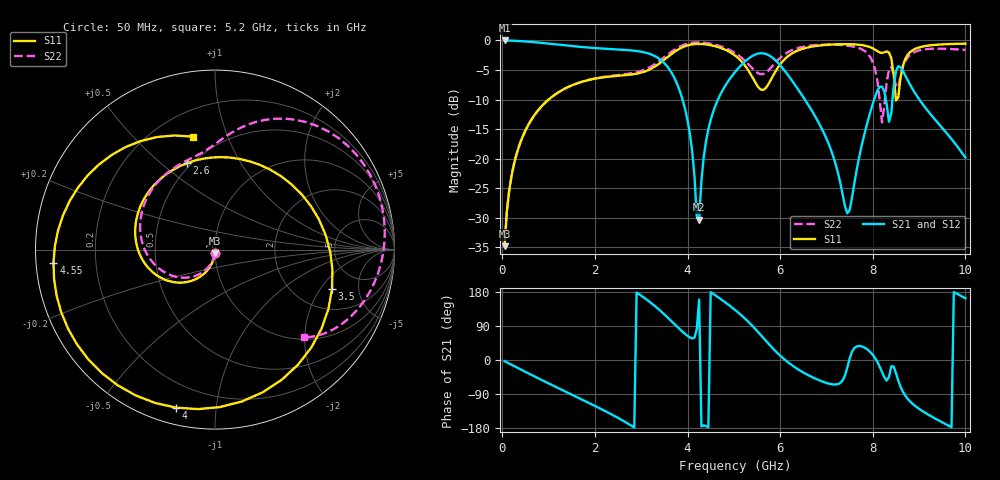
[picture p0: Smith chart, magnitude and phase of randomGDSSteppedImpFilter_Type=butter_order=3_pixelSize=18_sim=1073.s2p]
! freq	dB(S11)	phase(S11)	dB(S12)	phase(S12)
!  dB(S21)	phase(S21)	dB(S22)	phase(S22)
!S-par simulation data
#  GHz  S  DB  R 50
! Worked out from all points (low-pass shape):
!   200 points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, 50 MHz to 10 GHz, reference 50 ohm
!   highest |S21| = -0.01 dB at 50 MHz (marker M1); lowest = -30.3 dB at 4.25 GHz (marker M2)
!   |S21| within 3 dB of the highest: start of sweep to 3.371 GHz; 5.328 GHz to 5.847 GHz (518.9 MHz wide, 9.29 % of centre)
!   lowest |S11| = -34.8 dB at 50 MHz (marker M3), VSWR 1.04, Z = 49.9 - j1.82 ohm
!   |S11| at or under -10 dB: start of sweep to 999.5 MHz; 8.498224 GHz to 8.515295 GHz (17.07 MHz wide, 0.201 % of centre)
!   |S22| runs from -34.8 to -0.3 dB; largest |S21 - S12| = 0
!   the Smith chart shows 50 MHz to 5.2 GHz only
!   S11 on the Smith chart (normalised r, x): 50 MHz: 1.00, -0.04; 2.6 GHz: 0.47, +0.62; 3.5 GHz: 3.10, -2.60; 4 GHz: 0.08, -0.78; 4.55 GHz: 0.05, -0.04; 5.2 GHz: 0.35, +0.76
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0.05  -34.78 -92.6  -0.01 -3.2  -0.01 -3.2  -34.78 -93.2
0.5  -15.22 -118.9  -0.18 -31.4  -0.18 -31.4  -15.22 -124.8
1.75  -6.93 170.3  -1.14 -106.2  -1.14 -106.2  -6.91 156.1
2.6  -5.91 107.9  -1.58 -159.7  -1.58 -159.7  -5.77 111.6
3.4  -3.85 -1.0  -3.16 131.3  -3.16 131.3  -3.44 80.3
3.5  -3.25 -18.7  -3.85 120.2  -3.85 120.2  -2.83 75.1
4  -0.85 -103.8  -13.52 63.7  -13.52 63.7  -0.55 38.0
4.25  -0.59 -139.0  -30.32 159.5  -30.32 159.5  -0.34 17.7
4.55  -0.89 -175.4  -12.15 174.9  -12.15 174.9  -0.64 -4.7
5.05  -2.70 124.3  -5.12 129.7  -5.12 129.7  -2.24 -37.0
5.2  -3.86 101.2  -3.86 113.9  -3.86 113.9  -3.15 -44.6
5.55  -8.09 12.9  -2.19 70.3  -2.19 70.3  -5.64 -46.7
5.9  -5.23 -101.4  -3.37 23.3  -3.37 23.3  -3.74 -41.1
6.7  -1.03 160.3  -12.09 -45.7  -12.09 -45.7  -0.83 -83.5
7.45  -0.64 112.7  -29.23 -20.0  -29.23 -20.0  -0.87 -127.3
7.9  -1.02 85.7  -13.42 26.2  -13.42 26.2  -2.33 -171.2
8.1  -1.82 74.4  -8.50 -5.3  -8.50 -5.3  -6.87 137.9
8.25  -2.00 68.8  -8.67 -45.5  -8.67 -45.5  -11.06 -23.4
8.35  -2.04 55.9  -13.74 -44.7  -13.74 -44.7  -4.98 -90.2
8.6  -6.28 95.2  -4.54 -70.8  -4.54 -70.8  -6.06 -110.2
9.25  -0.82 49.4  -12.50 -147.9  -12.50 -147.9  -1.42 -174.8
10  -0.55 14.3  -19.80 162.9  -19.80 162.9  -1.61 109.4
